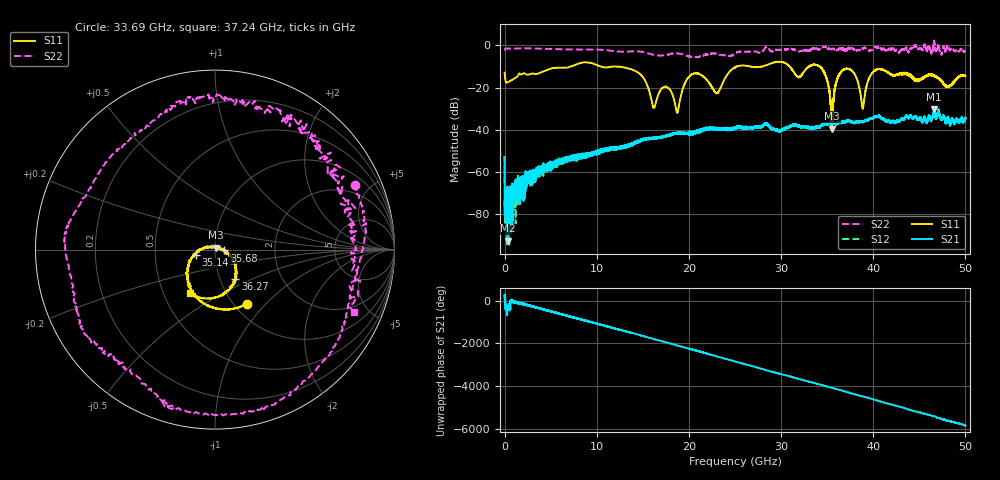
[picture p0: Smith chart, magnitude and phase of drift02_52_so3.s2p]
!Created with skrf (http://scikit-rf.org).
# Hz S RI R 50.0
!freq ReS11 ImS11 ReS21 ImS21 ReS12 ImS12 ReS22 ImS22
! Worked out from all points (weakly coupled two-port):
!   10001 points, 300 kHz to 50 GHz, reference 50 ohm
!   highest |S21| = -30.09 dB at 46.61 GHz (marker M1); lowest = -92.5 dB at 330.3 MHz (marker M2)
!   lowest |S11| = -39.3 dB at 35.54 GHz (marker M3), VSWR 1.02, Z = 50.4 + j0.993 ohm
!   |S11| at or under -10 dB: start of sweep to 7.178 GHz; 12.34 GHz to 25.16 GHz (12.83 GHz wide, 68.4 % of centre); 34.22 GHz to end of sweep (the widest 3 of 14)
!   |S22| runs from -5.7 to 2.4 dB; largest |S21 - S12| = 0.0031
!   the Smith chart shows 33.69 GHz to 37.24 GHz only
!   S11 on the Smith chart (normalised r, x): 33.69 GHz: 1.14, -0.79; 35.14 GHz: 0.81, -0.05; 35.68 GHz: 1.11, -0.01; 36.27 GHz: 1.18, -0.40; 37.24 GHz: 0.68, -0.35
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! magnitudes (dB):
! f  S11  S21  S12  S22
! 300 kHz  -12.9  -53.1  -52.3  -2.1
! 330.3 MHz  -17.5  -92.5  -73.2  -1.4
! 8.335 GHz  -8.2  -52.1  -52.5  -1.9
! 14.03 GHz  -11.8  -46.5  -46.5  -2.8
! 16.15 GHz  -29.3  -43.8  -43.7  -4.5
! 16.67 GHz  -23.3  -43.8  -43.5  -4.7
! 18.74 GHz  -31.7  -41.5  -41.6  -3.7
! 20.25 GHz  -13.9  -41.3  -41.5  -5.5
! 23.04 GHz  -22.6  -39.1  -39.3  -4.1
! 25 GHz  -10.4  -39.4  -38.8  -3.9
! 33.34 GHz  -9.2  -38.8  -38.7  -1.5
! 33.69 GHz  -9.1  -38.6  -38.5  -1.3
! 35.14 GHz  -19.1  -37.3  -37.4  -1.7
! 35.54 GHz  -39.3  -36.7  -36.9  -1.7
! 35.68 GHz  -25.5  -36.8  -36.6  -1.6
! 36.27 GHz  -14.1  -36.7  -36.6  -1.8
! 37.24 GHz  -11.1  -35.5  -35.5  -1.4
! 38.86 GHz  -29.8  -36.3  -36.0  -1.3
! 39.96 GHz  -12.7  -34.4  -34.5  -1.9
! 41.67 GHz  -12.9  -35.6  -35.5  -1.9
! 46.61 GHz  -14.2  -30.1  -30.2  2.4
! 50 GHz  -14.5  -34.6  -34.6  -2.7
